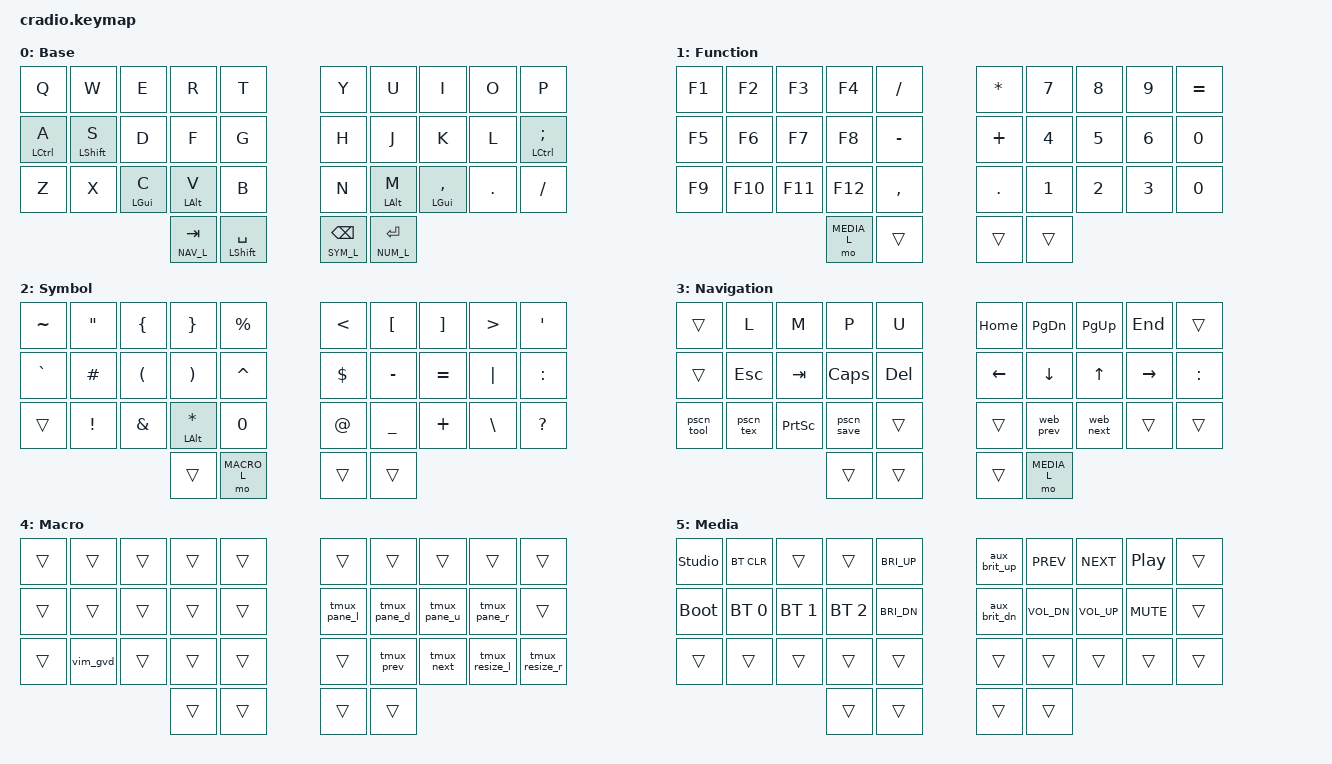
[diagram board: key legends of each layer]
/*
 * Copyright (c) 2020 The ZMK Contributors
 *
 * SPDX-License-Identifier: MIT
 */

#undef ZMK_BEHAVIORS_KEEP_ALL

#include <behaviors.dtsi>
#include <dt-bindings/zmk/keys.h>
#include <dt-bindings/zmk/bt.h>

#define BASE_L  0
#define NUM_L  1
#define SYM_L   2
#define NAV_L   3
#define MACRO_L 4
#define MEDIA_L 5

/* Tapping term for hold-tap behaviors */
#define TAPPING_TERM 200

/ {
    behaviors {
        hm: homerow_mods {
            compatible = "zmk,behavior-hold-tap";
            #binding-cells = <2>;
            flavor = "tap-preferred";
            tapping-term-ms = <TAPPING_TERM>;
            bindings = <&kp>, <&kp>;
            display-name = "Mod-Tap";
        };

        /* Layer tap for thumb keys */
        lt: layer_tap {
            compatible = "zmk,behavior-hold-tap";
            #binding-cells = <2>;
            tapping-term-ms = <TAPPING_TERM>;
            flavor = "tap-preferred";
            bindings = <&mo>, <&kp>;
            display-name = "Layer-Tap";
        };

        lt_repeat: lt_repeat {
            compatible = "zmk,behavior-hold-tap";
            #binding-cells = <2>;
            flavor = "tap-preferred";
            tapping-term-ms = <TAPPING_TERM>;
            quick-tap-ms = <400>;
            require-prior-idle-ms = <100>;
            bindings = <&mo>, <&kp>;
        };
    };

    macros {
        web_prev: web_prev {
            compatible = "zmk,behavior-macro";
            #binding-cells = <0>;
            wait-ms = <5>;
            tap-ms = <5>;
            bindings = <&macro_press &kp LALT>, <&macro_tap &kp LEFT>,  <&macro_release &kp LALT>;
        };

        web_next: web_next {
            compatible = "zmk,behavior-macro";
            #binding-cells = <0>;
            wait-ms = <5>;
            tap-ms = <5>;
            bindings = <&macro_press &kp LALT>, <&macro_tap &kp RIGHT>,  <&macro_release &kp LALT>;
        };

        pscn_save: pscn_save {
            compatible = "zmk,behavior-macro";
            #binding-cells = <0>;
            wait-ms = <5>;
            tap-ms = <5>;
            bindings = <&macro_press &kp LGUI>, <&macro_tap &kp PSCRN>,  <&macro_release &kp LGUI>;
        };

        pscn_tool: pscn_tool {
            compatible = "zmk,behavior-macro";
            #binding-cells = <0>;
            wait-ms = <5>;
            tap-ms = <5>;
            bindings = <&macro_press &kp LGUI &kp LSHFT>, <&macro_tap &kp PSCRN>,  <&macro_release &kp LGUI &kp LSHFT>;
        };

        pscn_tex: pscn_tex {
            compatible = "zmk,behavior-macro";
            #binding-cells = <0>;
            wait-ms = <5>;
            tap-ms = <5>;
            bindings = <&macro_press &kp LGUI &kp LALT>, <&macro_tap &kp PSCRN>,  <&macro_release &kp LGUI &kp LALT>;
        };

        /* Vim commands as single key behaviors */
        vim_vsplit: vim_vsplit {
            compatible = "zmk,behavior-macro";
            #binding-cells = <0>;
            wait-ms = <5>;
            tap-ms = <5>;
            bindings = <&kp ESC &kp COLON &kp V &kp S &kp P &kp L &kp I &kp T &kp ENTER>;
        };

        vim_save: vim_save {
            compatible = "zmk,behavior-macro";
            #binding-cells = <0>;
            wait-ms = <5>;
            tap-ms = <5>;
            bindings = <&kp ESC &kp COLON &kp W &kp ENTER>;
        };

        vim_gvd: vim_gvd {
            compatible = "zmk,behavior-macro";
            #binding-cells = <0>;
            wait-ms = <5>;
            tap-ms = <5>;
            bindings = <&kp ESC &kp COLON &kp G &kp V &kp D &kp I &kp F &kp F &kp S &kp P &kp L &kp I &kp T &kp ENTER>;
        };

        vim_diff: vim_diff {
            compatible = "zmk,behavior-macro";
            #binding-cells = <0>;
            wait-ms = <5>;
            tap-ms = <5>;
            bindings = <&kp LGUI &kp LCTRL &kp PSCRN>;
        };

        /* Tmux commands */
        tmux_new: tmux_new {
            compatible = "zmk,behavior-macro";
            #binding-cells = <0>;
            wait-ms = <5>;
            tap-ms = <5>;
            bindings = <&macro_press &kp LCTRL>, <&macro_tap &kp B>,  <&macro_release &kp LCTRL>, <&macro_tap &kp C>;
        };

        tmux_prev: tmux_prev {
            compatible = "zmk,behavior-macro";
            #binding-cells = <0>;
            wait-ms = <5>;
            tap-ms = <5>;
            bindings = <&macro_press &kp LCTRL>, <&macro_tap &kp B>,  <&macro_release &kp LCTRL>, <&macro_tap &kp P>;
        };

        tmux_next: tmux_next {
            compatible = "zmk,behavior-macro";
            #binding-cells = <0>;
            wait-ms = <5>;
            tap-ms = <5>;
            bindings = <&macro_press &kp LCTRL>, <&macro_tap &kp B>,  <&macro_release &kp LCTRL>, <&macro_tap &kp N>;
        };

        tmux_pane_l: tmux_pane_l {
            compatible = "zmk,behavior-macro";
            #binding-cells = <0>;
            wait-ms = <5>;
            tap-ms = <5>;
            bindings = <&macro_press &kp LCTRL>, <&macro_tap &kp B>,  <&macro_release &kp LCTRL>, <&macro_tap &kp H>;
        };

        tmux_pane_r: tmux_pane_r {
            compatible = "zmk,behavior-macro";
            #binding-cells = <0>;
            wait-ms = <5>;
            tap-ms = <5>;
            bindings = <&macro_press &kp LCTRL>, <&macro_tap &kp B>,  <&macro_release &kp LCTRL>, <&macro_tap &kp L>;
        };

        tmux_pane_d: tmux_pane_d {
            compatible = "zmk,behavior-macro";
            #binding-cells = <0>;
            wait-ms = <5>;
            tap-ms = <5>;
            bindings = <&macro_press &kp LCTRL>, <&macro_tap &kp B>,  <&macro_release &kp LCTRL>, <&macro_tap &kp J>;
        };

        tmux_pane_u: tmux_pane_u {
            compatible = "zmk,behavior-macro";
            #binding-cells = <0>;
            wait-ms = <5>;
            tap-ms = <5>;
            bindings = <&macro_press &kp LCTRL>, <&macro_tap &kp B>,  <&macro_release &kp LCTRL>, <&macro_tap &kp K>;
        };

        tmux_resize_l: tmux_resize_l {
            compatible = "zmk,behavior-macro";
            #binding-cells = <0>;
            wait-ms = <5>;
            tap-ms = <5>;
            bindings = <&macro_press &kp LCTRL &kp B>, <&macro_tap &kp LEFT>,  <&macro_release &kp LCTRL &kp B>;
        };

        tmux_resize_r: tmux_resize_r {
            compatible = "zmk,behavior-macro";
            #binding-cells = <0>;
            wait-ms = <5>;
            tap-ms = <5>;
            bindings = <&macro_press &kp LCTRL &kp B>, <&macro_tap &kp RIGHT>,  <&macro_release &kp LCTRL &kp B>;
        };

        aux_brit_up: aux_brit_up {
            compatible = "zmk,behavior-macro";
            #binding-cells = <0>;
            wait-ms = <5>;
            tap-ms = <5>;
            bindings = <&macro_press &kp LGUI>, <&macro_tap &kp C_BRI_UP>,  <&macro_release &kp LGUI>;
        };

        aux_brit_dn: aux_brit_dn {
            compatible = "zmk,behavior-macro";
            #binding-cells = <0>;
            wait-ms = <5>;
            tap-ms = <5>;
            bindings = <&macro_press &kp LGUI>, <&macro_tap &kp C_BRI_DN>,  <&macro_release &kp LGUI>;
        };
    };

    combos {
      #include "combos.dtsi"
      /* Combo: Space + Backspace -> MACRO_L */
      space_backspace_macro {
          timeout-ms = <500>; /* Time window to press both keys */
          bindings = <&mo MACRO_L>;
          key-positions = <31 32>;
      };
    };

    keymap {
        compatible = "zmk,keymap";

        base {
            display-name = "Base";
            bindings = <
                /* Left hand */                /* Right hand */
                &kp Q         &kp W           &kp E          &kp R      &kp T &kp Y &kp U      &kp I          &kp O   &kp P
                &hm LCTL A    &hm LSHFT S     &kp D          &kp F      &kp G &kp H &kp J      &kp K          &kp L   &hm LCTRL SEMI
                &kp Z         &kp X           &hm LGUI C     &hm LALT V &kp B &kp N &hm LALT M &hm LGUI COMMA &kp DOT &kp FSLH
                &lt NAV_L TAB &mt LSHFT SPACE &lt_repeat SYM_L BSPC &lt_repeat NUM_L ENTER
            >;
        };

        /*
         * FUNCTION LAYER (Layer 1)
         * F-keys and numbers
         */
        numbers {
            display-name = "Function";
            bindings = <
                &kp F1      &kp F2  &kp F3  &kp F4  &kp FSLH     &kp ASTRK &kp N7 &kp N8 &kp N9 &kp EQUAL
                &kp F5      &kp F6  &kp F7  &kp F8  &kp MINUS    &kp PLUS  &kp N4 &kp N5 &kp N6 &kp N0
                &kp F9      &kp F10 &kp F11 &kp F12 &kp COMMA    &kp DOT   &kp N1 &kp N2 &kp N3 &kp N0
                &mo MEDIA_L &trans  &trans  &trans
            >;
        };

        /*
         * SYMBOL LAYER (Layer 2)
         * Shifted numbers and symbols
         */
        symbol {
            display-name = "Symbol";
            bindings = <
                &kp TILDE &kp DQT     &kp LBRC &kp RBRC       &kp PRCNT &kp LT   &kp LBKT       &kp RBKT  &kp GT   &kp SQT
                &kp GRAVE &kp HASH    &kp LPAR &kp RPAR       &kp CARET &kp DLLR &kp MINUS      &kp EQUAL &kp PIPE &kp COLON
                &trans    &kp EXCL    &kp AMPS &mt LALT ASTRK &kp N0    &kp AT   &kp UNDERSCORE &kp PLUS  &kp BSLH &kp QMARK
                &trans    &mo MACRO_L &trans   &trans
            >;
        };

        /*
         * NAVIGATION LAYER (Layer 3)
         * Arrow keys, navigation, and vim macros
         */
        navigation {
            display-name = "Navigation";
            bindings = <
                &trans  &kp L      &kp M       &kp P          &kp U         &kp HOME         &kp PG_DN      &kp PG_UP   &kp END    &trans
                &trans  &kp ESC    &kp TAB     &kp CAPS       &kp DEL       &kp LEFT         &kp DOWN       &kp UP      &kp RIGHT  &kp COLON
                &pscn_tool &pscn_tex &kp PSCRN &pscn_save &trans &trans   &web_prev &web_next &trans &trans
                                                  &trans      &trans      &trans        &mo MEDIA_L
            >;
        };

        /*
         * MACRO LAYER (Layer 4)
         * Additional vim and tmux macros
         */
        macro_layer {
            display-name = "Macro";
            bindings = <
                &trans  &trans  &trans   &trans      &trans     &trans        &trans       &trans       &trans       &trans
                &trans  &trans  &trans   &trans      &trans     &tmux_pane_l  &tmux_pane_d &tmux_pane_u &tmux_pane_r &trans
                &trans  &vim_gvd &trans  &trans      &trans     &trans        &tmux_prev   &tmux_next   &tmux_resize_l &tmux_resize_r
                                                  &trans      &trans      &trans        &trans
            >;
        };

        /*
         * MEDIA LAYER (Layer 5)
         * Media controls and brightness
         */
        media {
            display-name = "Media";
            bindings = <
                &studio_unlock &bt BT_CLR   &trans       &trans       &kp C_BRI_UP &aux_brit_up &kp C_PREV   &kp C_NEXT   &kp C_PLAY_PAUSE &trans
                &bootloader    &bt BT_SEL 0 &bt BT_SEL 1 &bt BT_SEL 2 &kp C_BRI_DN &aux_brit_dn &kp C_VOL_DN &kp C_VOL_UP &kp C_MUTE       &trans
                &trans         &trans       &trans       &trans       &trans       &trans       &trans       &trans       &trans           &trans
                &trans         &trans       &trans       &trans
            >;
        };

        /*

        num_layer {
            bindings = <
                &kp LBKT   &kp N7     &kp N8      &kp N9          &kp RBKT      &trans          &trans         &trans      &trans     &trans
                &kp SEMI   &kp N4     &kp N5      &kp N6          &kp EQUAL     &trans          &trans         &trans      &trans     &trans
                &kp GRAVE  &kp N1     &kp N2      &kp N3          &kp BSLH      &trans          &trans         &trans      &trans     &trans
                                                  &kp N0          &kp MINUS     &trans          &trans
            >;
        };

        sym_layer {
            bindings = <
                &kp LBRC     &kp LS(N7)  &kp LS(N8)  &kp LS(N9) &kp RBRC       &trans &trans   &trans    &trans    &trans
                &kp COLON     &kp LS(N4)  &kp LS(N5)  &kp LS(N6) &kp PLUS       &trans &trans   &trans    &trans    &trans
                &kp TILDE     &kp LS(N1)  &kp LS(N2)  &kp LS(N3) &kp LS(BSLH)       &trans &trans   &trans    &trans    &trans
                                                   &kp LS(N0) &kp UNDER   &trans &trans
            >;
        };
        */
    };
};
